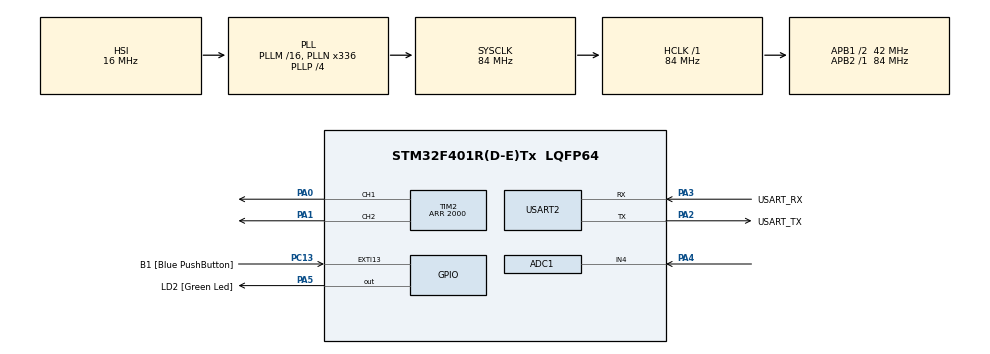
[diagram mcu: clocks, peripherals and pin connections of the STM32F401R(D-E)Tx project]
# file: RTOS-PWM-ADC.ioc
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ADC1.Channel-1\#ChannelRegularConversion=ADC_CHANNEL_4
ADC1.ContinuousConvMode=ENABLE
ADC1.NbrOfConversionFlag=1
ADC1.Rank-1\#ChannelRegularConversion=1
ADC1.SamplingTime-1\#ChannelRegularConversion=ADC_SAMPLETIME_3CYCLES
ADC1.master=1
FREERTOS.Tasks01=TaskPWM,24,128,StartTaskPWM,Default,NULL,Dynamic,NULL,NULL;TaskPotenciomet,24,128,StartTaskPotenciometro,Default,NULL,Dynamic,NULL,NULL
FREERTOS.configUSE_NEWLIB_REENTRANT=1
Mcu.Family=STM32F4
Mcu.Name=STM32F401R(D-E)Tx
Mcu.Package=LQFP64
NVIC.PriorityGroup=NVIC_PRIORITYGROUP_4
NVIC.TIM1_BRK_TIM9_IRQn=true\:15\:0\:false\:false\:true\:false\:false\:true\:true
NVIC.TimeBase=TIM1_BRK_TIM9_IRQn
NVIC.TimeBaseIP=TIM9
PA0-WKUP.Signal=S_TIM2_CH1_ETR
PA1.Signal=S_TIM2_CH2
PA13.GPIO_Label=TMS
PA13.Mode=Trace_Asynchronous_SW
PA13.Signal=SYS_JTMS-SWDIO
PA14.GPIO_Label=TCK
PA14.Mode=Trace_Asynchronous_SW
PA14.Signal=SYS_JTCK-SWCLK
PA2.GPIO_Label=USART_TX
PA2.GPIO_Mode=GPIO_MODE_AF_PP
PA2.GPIO_PuPd=GPIO_NOPULL
PA2.GPIO_Speed=GPIO_SPEED_FREQ_LOW
PA2.Mode=Asynchronous
PA2.Signal=USART2_TX
PA3.GPIO_Label=USART_RX
PA3.GPIO_Mode=GPIO_MODE_AF_PP
PA3.GPIO_PuPd=GPIO_NOPULL
PA3.GPIO_Speed=GPIO_SPEED_FREQ_LOW
PA3.Mode=Asynchronous
PA3.Signal=USART2_RX
PA4.Signal=ADCx_IN4
PA5.GPIO_Label=LD2 [Green Led]
PA5.GPIO_Mode=GPIO_MODE_OUTPUT_PP
PA5.GPIO_PuPd=GPIO_NOPULL
PA5.GPIO_Speed=GPIO_SPEED_FREQ_LOW
PA5.Signal=GPIO_Output
PB3.GPIO_Label=SWO
PB3.Mode=Trace_Asynchronous_SW
PB3.Signal=SYS_JTDO-SWO
PC13-ANTI_TAMP.GPIO_Label=B1 [Blue PushButton]
PC13-ANTI_TAMP.GPIO_ModeDefaultEXTI=GPIO_MODE_IT_FALLING
PC13-ANTI_TAMP.GPIO_PuPd=GPIO_NOPULL
PC13-ANTI_TAMP.Signal=GPXTI13
PC14-OSC32_IN.Mode=LSE-External-Oscillator
PC14-OSC32_IN.Signal=RCC_OSC32_IN
PC15-OSC32_OUT.Mode=LSE-External-Oscillator
PC15-OSC32_OUT.Signal=RCC_OSC32_OUT
PH0\ -\ OSC_IN.Mode=HSE-External-Clock-Source
PH0\ -\ OSC_IN.Signal=RCC_OSC_IN
PH1\ -\ OSC_OUT.Mode=HSE-External-Clock-Source
PH1\ -\ OSC_OUT.Signal=RCC_OSC_OUT
ProjectManager.HeapSize=0x200
ProjectManager.StackSize=0x400
ProjectManager.TargetToolchain=STM32CubeIDE
RCC.48MHZClocksFreq_Value=48000000
RCC.AHBFreq_Value=84000000
RCC.APB1CLKDivider=RCC_HCLK_DIV2
RCC.APB1Freq_Value=42000000
RCC.APB1TimFreq_Value=84000000
RCC.APB2Freq_Value=84000000
RCC.APB2TimFreq_Value=84000000
RCC.CortexFreq_Value=84000000
RCC.HCLKFreq_Value=84000000
RCC.HSE_VALUE=8000000
RCC.HSI_VALUE=16000000
RCC.PLLN=336
RCC.PLLP=RCC_PLLP_DIV4
RCC.PLLQ=7
RCC.SYSCLKFreq_VALUE=84000000
RCC.SYSCLKSource=RCC_SYSCLKSOURCE_PLLCLK
RCC.VCOOutputFreq_Value=336000000
SH.ADCx_IN4.0=ADC1_IN4,IN4
SH.S_TIM2_CH1_ETR.0=TIM2_CH1,PWM Generation1 CH1
SH.S_TIM2_CH2.0=TIM2_CH2,PWM Generation2 CH2
TIM2.AutoReloadPreload=TIM_AUTORELOAD_PRELOAD_ENABLE
TIM2.Channel-PWM\ Generation1\ CH1=TIM_CHANNEL_1
TIM2.Channel-PWM\ Generation2\ CH2=TIM_CHANNEL_2
TIM2.CounterMode=TIM_COUNTERMODE_CENTERALIGNED3
TIM2.OCMode_PWM-PWM\ Generation2\ CH2=TIM_OCMODE_PWM2
TIM2.Period=2000
TIM2.Pulse-PWM\ Generation1\ CH1=100
TIM2.Pulse-PWM\ Generation2\ CH2=1900
USART2.VirtualMode=VM_ASYNC
VP_FREERTOS_VS_CMSIS_V2.Mode=CMSIS_V2
VP_SYS_VS_tim9.Mode=TIM9
VP_TIM2_VS_ClockSourceINT.Mode=Internal
board=NUCLEO-F401RE

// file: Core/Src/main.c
/* USER CODE BEGIN Header */
/**
  ******************************************************************************
  * @file           : main.c
  * @brief          : Main program body
  ******************************************************************************
  * @attention
  *
  * Copyright (c) 2026 STMicroelectronics.
  * All rights reserved.
  *
  * This software is licensed under terms that can be found in the LICENSE file
  * in the root directory of this software component.
  * If no LICENSE file comes with this software, it is provided AS-IS.
  *
  ******************************************************************************
  */
/* USER CODE END Header */
#include "main.h"
#include "cmsis_os.h"

ADC_HandleTypeDef hadc1;

TIM_HandleTypeDef htim2;

UART_HandleTypeDef huart2;

/* Definitions for TaskPWM */
osThreadId_t TaskPWMHandle;
const osThreadAttr_t TaskPWM_attributes = {
  .name = "TaskPWM",
  .stack_size = 128 * 4,
  .priority = (osPriority_t) osPriorityNormal,
};
/* Definitions for TaskPotenciomet */
osThreadId_t TaskPotenciometHandle;
const osThreadAttr_t TaskPotenciomet_attributes = {
  .name = "TaskPotenciomet",
  .stack_size = 128 * 4,
  .priority = (osPriority_t) osPriorityNormal,
};

void SystemClock_Config(void);
static void MX_GPIO_Init(void);
static void MX_USART2_UART_Init(void);
static void MX_ADC1_Init(void);
static void MX_TIM2_Init(void);
void StartTaskPWM(void *argument);
void StartTaskPotenciometro(void *argument);

/* USER CODE BEGIN 0 */

     //variavel para guadar valor lido do ADC
     //Variavel GLOBAL VISTA por todas tarefas
     uint16_t readValue;
/* USER CODE END 0 */

int main(void)
{

  /* MCU Configuration--------------------------------------------------------*/

  /* Reset of all peripherals, Initializes the Flash interface and the Systick. */
  HAL_Init();

  /* Configure the system clock */
  SystemClock_Config();

  /* Initialize all configured peripherals */
  MX_GPIO_Init();
  MX_USART2_UART_Init();
  MX_ADC1_Init();
  MX_TIM2_Init();

  /* USER CODE BEGIN 2 */
  //inicializar os timer 02 e os canais 1 e 2
    // Pinos de saida Chanel 1 = PA0   ->Led Azul
    // Pinos de saida Chanel 2 = PA1   ->Led Amarelo
    HAL_TIM_PWM_Start(&htim2, TIM_CHANNEL_1);
    HAL_TIM_PWM_Start(&htim2, TIM_CHANNEL_2);

    /* Certifique-se de que a instância do timer está declarada (geralmente htim1 ou htim8) */
    extern TIM_HandleTypeDef htim2;

  /* USER CODE END 2 */

  /* Init scheduler */
  osKernelInitialize();

  /* Create the thread(s) */
  /* creation of TaskPWM */
  TaskPWMHandle = osThreadNew(StartTaskPWM, NULL, &TaskPWM_attributes);

  /* creation of TaskPotenciomet */
  TaskPotenciometHandle = osThreadNew(StartTaskPotenciometro, NULL, &TaskPotenciomet_attributes);

  /* Start scheduler */
  osKernelStart();

  /* We should never get here as control is now taken by the scheduler */

  /* Infinite loop */
  while (1)
  {

  }
}

void SystemClock_Config(void)
{
  RCC_OscInitTypeDef RCC_OscInitStruct = {0};
  RCC_ClkInitTypeDef RCC_ClkInitStruct = {0};

  /** Configure the main internal regulator output voltage
  */
  __HAL_RCC_PWR_CLK_ENABLE();
  __HAL_PWR_VOLTAGESCALING_CONFIG(PWR_REGULATOR_VOLTAGE_SCALE2);

  /** Initializes the RCC Oscillators according to the specified parameters
  * in the RCC_OscInitTypeDef structure.
  */
  RCC_OscInitStruct.OscillatorType = RCC_OSCILLATORTYPE_HSI;
  RCC_OscInitStruct.HSIState = RCC_HSI_ON;
  RCC_OscInitStruct.HSICalibrationValue = RCC_HSICALIBRATION_DEFAULT;
  RCC_OscInitStruct.PLL.PLLState = RCC_PLL_ON;
  RCC_OscInitStruct.PLL.PLLSource = RCC_PLLSOURCE_HSI;
  RCC_OscInitStruct.PLL.PLLM = 16;
  RCC_OscInitStruct.PLL.PLLN = 336;
  RCC_OscInitStruct.PLL.PLLP = RCC_PLLP_DIV4;
  RCC_OscInitStruct.PLL.PLLQ = 7;
  if (HAL_RCC_OscConfig(&RCC_OscInitStruct) != HAL_OK)
  {
    Error_Handler();
  }

  /** Initializes the CPU, AHB and APB buses clocks
  */
  RCC_ClkInitStruct.ClockType = RCC_CLOCKTYPE_HCLK|RCC_CLOCKTYPE_SYSCLK
                              |RCC_CLOCKTYPE_PCLK1|RCC_CLOCKTYPE_PCLK2;
  RCC_ClkInitStruct.SYSCLKSource = RCC_SYSCLKSOURCE_PLLCLK;
  RCC_ClkInitStruct.AHBCLKDivider = RCC_SYSCLK_DIV1;
  RCC_ClkInitStruct.APB1CLKDivider = RCC_HCLK_DIV2;
  RCC_ClkInitStruct.APB2CLKDivider = RCC_HCLK_DIV1;

  if (HAL_RCC_ClockConfig(&RCC_ClkInitStruct, FLASH_LATENCY_2) != HAL_OK)
  {
    Error_Handler();
  }
}

static void MX_ADC1_Init(void)
{

  ADC_ChannelConfTypeDef sConfig = {0};

  /** Configure the global features of the ADC (Clock, Resolution, Data Alignment and number of conversion)
  */
  hadc1.Instance = ADC1;
  hadc1.Init.ClockPrescaler = ADC_CLOCK_SYNC_PCLK_DIV4;
  hadc1.Init.Resolution = ADC_RESOLUTION_12B;
  hadc1.Init.ScanConvMode = DISABLE;
  hadc1.Init.ContinuousConvMode = ENABLE;
  hadc1.Init.DiscontinuousConvMode = DISABLE;
  hadc1.Init.ExternalTrigConvEdge = ADC_EXTERNALTRIGCONVEDGE_NONE;
  hadc1.Init.ExternalTrigConv = ADC_SOFTWARE_START;
  hadc1.Init.DataAlign = ADC_DATAALIGN_RIGHT;
  hadc1.Init.NbrOfConversion = 1;
  hadc1.Init.DMAContinuousRequests = DISABLE;
  hadc1.Init.EOCSelection = ADC_EOC_SINGLE_CONV;
  if (HAL_ADC_Init(&hadc1) != HAL_OK)
  {
    Error_Handler();
  }

  /** Configure for the selected ADC regular channel its corresponding rank in the sequencer and its sample time.
  */
  sConfig.Channel = ADC_CHANNEL_4;
  sConfig.Rank = 1;
  sConfig.SamplingTime = ADC_SAMPLETIME_3CYCLES;
  if (HAL_ADC_ConfigChannel(&hadc1, &sConfig) != HAL_OK)
  {
    Error_Handler();
  }

}

static void MX_TIM2_Init(void)
{

  TIM_ClockConfigTypeDef sClockSourceConfig = {0};
  TIM_MasterConfigTypeDef sMasterConfig = {0};
  TIM_OC_InitTypeDef sConfigOC = {0};

  htim2.Instance = TIM2;
  htim2.Init.Prescaler = 0;
  htim2.Init.CounterMode = TIM_COUNTERMODE_CENTERALIGNED3;
  htim2.Init.Period = 2000;
  htim2.Init.ClockDivision = TIM_CLOCKDIVISION_DIV1;
  htim2.Init.AutoReloadPreload = TIM_AUTORELOAD_PRELOAD_ENABLE;
  if (HAL_TIM_Base_Init(&htim2) != HAL_OK)
  {
    Error_Handler();
  }
  sClockSourceConfig.ClockSource = TIM_CLOCKSOURCE_INTERNAL;
  if (HAL_TIM_ConfigClockSource(&htim2, &sClockSourceConfig) != HAL_OK)
  {
    Error_Handler();
  }
  if (HAL_TIM_PWM_Init(&htim2) != HAL_OK)
  {
    Error_Handler();
  }
  sMasterConfig.MasterOutputTrigger = TIM_TRGO_RESET;
  sMasterConfig.MasterSlaveMode = TIM_MASTERSLAVEMODE_DISABLE;
  if (HAL_TIMEx_MasterConfigSynchronization(&htim2, &sMasterConfig) != HAL_OK)
  {
    Error_Handler();
  }
  sConfigOC.OCMode = TIM_OCMODE_PWM1;
  sConfigOC.Pulse = 100;
  sConfigOC.OCPolarity = TIM_OCPOLARITY_HIGH;
  sConfigOC.OCFastMode = TIM_OCFAST_DISABLE;
  if (HAL_TIM_PWM_ConfigChannel(&htim2, &sConfigOC, TIM_CHANNEL_1) != HAL_OK)
  {
    Error_Handler();
  }
  sConfigOC.OCMode = TIM_OCMODE_PWM2;
  sConfigOC.Pulse = 1900;
  if (HAL_TIM_PWM_ConfigChannel(&htim2, &sConfigOC, TIM_CHANNEL_2) != HAL_OK)
  {
    Error_Handler();
  }
  HAL_TIM_MspPostInit(&htim2);

}

static void MX_USART2_UART_Init(void)
{

  huart2.Instance = USART2;
  huart2.Init.BaudRate = 115200;
  huart2.Init.WordLength = UART_WORDLENGTH_8B;
  huart2.Init.StopBits = UART_STOPBITS_1;
  huart2.Init.Parity = UART_PARITY_NONE;
  huart2.Init.Mode = UART_MODE_TX_RX;
  huart2.Init.HwFlowCtl = UART_HWCONTROL_NONE;
  huart2.Init.OverSampling = UART_OVERSAMPLING_16;
  if (HAL_UART_Init(&huart2) != HAL_OK)
  {
    Error_Handler();
  }

}

static void MX_GPIO_Init(void)
{
  GPIO_InitTypeDef GPIO_InitStruct = {0};

  /* GPIO Ports Clock Enable */
  __HAL_RCC_GPIOC_CLK_ENABLE();
  __HAL_RCC_GPIOH_CLK_ENABLE();
  __HAL_RCC_GPIOA_CLK_ENABLE();
  __HAL_RCC_GPIOB_CLK_ENABLE();

  /*Configure GPIO pin Output Level */
  HAL_GPIO_WritePin(LD2_GPIO_Port, LD2_Pin, GPIO_PIN_RESET);

  /*Configure GPIO pin : B1_Pin */
  GPIO_InitStruct.Pin = B1_Pin;
  GPIO_InitStruct.Mode = GPIO_MODE_IT_FALLING;
  GPIO_InitStruct.Pull = GPIO_NOPULL;
  HAL_GPIO_Init(B1_GPIO_Port, &GPIO_InitStruct);

  /*Configure GPIO pin : LD2_Pin */
  GPIO_InitStruct.Pin = LD2_Pin;
  GPIO_InitStruct.Mode = GPIO_MODE_OUTPUT_PP;
  GPIO_InitStruct.Pull = GPIO_NOPULL;
  GPIO_InitStruct.Speed = GPIO_SPEED_FREQ_LOW;
  HAL_GPIO_Init(LD2_GPIO_Port, &GPIO_InitStruct);

}

void StartTaskPWM(void *argument)
{
  /* USER CODE BEGIN 5 */
  /* Infinite loop */
  for(;;)
  {

	  // Valores Iniciais solicitados
	          uint16_t pulse_A = readValue;
	          uint16_t pulse_B = 1900;

	  // 1. Define os valores iniciais nos registradores antes de ligar as saídas
	         __HAL_TIM_SET_COMPARE(&htim2, TIM_CHANNEL_1, pulse_A);
	         __HAL_TIM_SET_COMPARE(&htim2, TIM_CHANNEL_2, pulse_B);

	         // 2. Inicializa os canais PWM (Principal e Complementar se houver)
	         HAL_TIM_PWM_Start(&htim2, TIM_CHANNEL_1);
	         //HAL_TIMEx_PWMN_Start(&htim1, TIM_CHANNEL_1); // Se usar CH1N

	         HAL_TIM_PWM_Start(&htim2, TIM_CHANNEL_2);
	         //HAL_TIMEx_PWMN_Start(&htim1, TIM_CHANNEL_2); // Se usar CH2N
  }
  /* USER CODE END 5 */
}

void StartTaskPotenciometro(void *argument)
{
  /* USER CODE BEGIN StartTaskPotenciometro */
  /* Infinite loop */
  for(;;)
  {

	  //inicializa o ADC
	  	  HAL_ADC_Start(&hadc1);

	  	  //converter o ADC por 1000 não sei ainda o que faz
	  	  HAL_ADC_PollForConversion(&hadc1, 1000);

	  	  //pega valor lido em ADC e joga na variavel readValue
	  	  readValue = HAL_ADC_GetValue(&hadc1);

	  	  //stopa para do ADC
	  	  HAL_ADC_Stop(&hadc1);

	  	  HAL_GPIO_TogglePin(GPIOA, LD2_Pin);

	  	  //delay para melhor visualização

	  	  osDelay(readValue);

  }
  /* USER CODE END StartTaskPotenciometro */
}

void HAL_TIM_PeriodElapsedCallback(TIM_HandleTypeDef *htim)
{
  if (htim->Instance == TIM9)
  {
    HAL_IncTick();
  }
}

void Error_Handler(void)
{
  __disable_irq();
  while (1)
  {
  }
}
